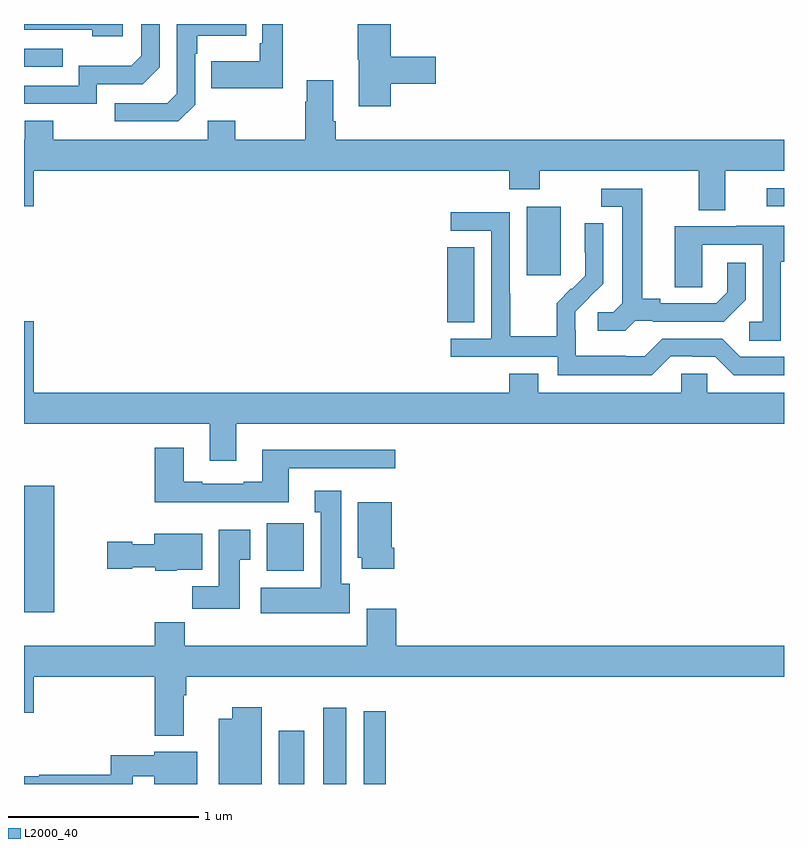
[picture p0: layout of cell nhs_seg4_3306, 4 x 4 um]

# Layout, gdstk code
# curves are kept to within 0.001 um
import gdstk
lib = gdstk.Library(unit=1e-6, precision=1e-09)
def R(c, l, rs):  # rectangles x0, y0, x1, y1
    for r in rs: c.add(gdstk.rectangle(r[:2], r[2:], *l))
def P(c, l, *ps):  # polygons
    for p in ps: c.add(gdstk.Polygon(p, *l))
L2000_40 = (2000, 40)

nhs_seg4_3306 = lib.new_cell('nhs_seg4_3306')
R(nhs_seg4_3306, L2000_40, [(286.34,818.9,286.474,819.181), (286.574,818.9,286.696,819.301), (286.788,818.9,286.904,819.283), (285,819.804,285.16,820.471), (286.277,820.022,286.473,820.273), (287.228,821.329,287.371,821.726), (287.645,821.577,287.824,821.938), (288.909,821.94,289,822.036), (285,822.675,285.203,822.771)])
P(nhs_seg4_3306, L2000_40, [(286.931,822.586),(287.167,822.586),(287.167,822.728),(286.931,822.728),(286.931,822.9),(286.756,822.9),(286.756,822.711),(286.763,822.711),(286.763,822.468),(286.931,822.468)],
  [(285.9,822.474),(285.9,822.743),(285.913,822.743),(285.913,822.839),(286.169,822.839),(286.169,822.9),(285.804,822.9),(285.804,822.534),(285.753,822.483),(285.477,822.483),(285.477,822.387),(285.813,822.387)],
  [(286.363,822.9),(286.254,822.9),(286.254,822.799),(286.242,822.799),(286.242,822.703),(285.985,822.703),(285.985,822.563),(286.363,822.563)],
  [(285.52,822.9),(285,822.9),(285,822.87),(285.359,822.87),(285.359,822.836),(285.52,822.836)],
  [(285.384,822.582),(285.624,822.582),(285.714,822.672),(285.714,822.9),(285.618,822.9),(285.618,822.732),(285.565,822.679),(285.288,822.679),(285.288,822.576),(285,822.576),(285,822.48),(285.384,822.48)],
  [(288.691,822.128),(289,822.128),(289,822.292),(286.64,822.292),(286.64,822.388),(286.627,822.388),(286.627,822.604),(286.487,822.604),(286.487,822.491),(286.48,822.491),(286.48,822.292),(286.113,822.292),(286.113,822.391),(285.966,822.391),(285.966,822.292),(285.153,822.292),(285.153,822.391),(285.005,822.391),(285.005,822.292),(285,822.292),(285,821.94),(285.052,821.94),(285.052,822.128),(287.555,822.128),(287.555,822.029),(287.715,822.029),(287.715,822.128),(288.551,822.128),(288.551,821.92),(288.691,821.92)],
  [(288.216,821.337),(288.31,821.337),(288.31,821.334),(288.682,821.334),(288.798,821.45),(288.798,821.644),(288.701,821.644),(288.701,821.487),(288.644,821.43),(288.349,821.43),(288.349,821.453),(288.253,821.453),(288.253,822.033),(288.039,822.033),(288.039,821.937),(288.149,821.937),(288.149,821.429),(288.102,821.382),(288.021,821.382),(288.021,821.285),(288.164,821.285)],
  [(288.405,821.151),(288.521,821.151),(288.521,821.148),(288.639,821.148),(288.735,821.052),(289,821.052),(289,821.148),(288.771,821.148),(288.675,821.244),(288.36,821.244),(288.267,821.151),(288.167,821.151),(288.167,821.155),(287.904,821.155),(287.904,821.289),(287.902,821.289),(287.902,821.386),(288.048,821.534),(288.048,821.852),(287.952,821.852),(287.952,821.698),(287.954,821.698),(287.954,821.576),(287.883,821.505),(287.88,821.508),(287.803,821.431),(287.803,821.257),(287.559,821.257),(287.559,821.48),(287.556,821.48),(287.556,821.91),(287.247,821.91),(287.247,821.811),(287.46,821.811),(287.46,821.244),(287.247,821.244),(287.247,821.148),(287.808,821.148),(287.808,821.051),(288.305,821.051)],
  [(288.984,821.649),(289,821.649),(289,821.839),(288.749,821.839),(288.749,821.835),(288.425,821.835),(288.425,821.515),(288.57,821.515),(288.57,821.739),(288.888,821.739),(288.888,821.334),(288.816,821.334),(288.816,821.233),(288.984,821.233)],
  [(286.117,820.796),(289,820.796),(289,820.96),(288.597,820.96),(288.597,821.058),(288.459,821.058),(288.459,820.96),(287.707,820.96),(287.707,821.059),(287.555,821.059),(287.555,820.96),(285.052,820.96),(285.052,821.335),(285,821.335),(285,820.796),(285.977,820.796),(285.977,820.602),(286.117,820.602)],
  [(286.393,820.563),(286.954,820.563),(286.954,820.66),(286.253,820.66),(286.253,820.492),(286.157,820.492),(286.157,820.479),(285.937,820.479),(285.937,820.492),(285.841,820.492),(285.841,820.669),(285.689,820.669),(285.689,820.382),(286.393,820.382)],
  [(286.714,819.954),(286.669,819.954),(286.669,820.444),(286.529,820.444),(286.529,820.331),(286.562,820.331),(286.562,819.934),(286.245,819.934),(286.245,819.8),(286.714,819.8)],
  [(286.949,820.144),(286.936,820.144),(286.936,820.384),(286.757,820.384),(286.757,820.092),(286.778,820.092),(286.778,820.032),(286.949,820.032)],
  [(286.135,820.081),(286.192,820.081),(286.192,820.237),(286.025,820.237),(286.025,819.94),(285.886,819.94),(285.886,819.822),(286.135,819.822)],
  [(285.804,820.028),(285.937,820.028),(285.937,820.216),(285.686,820.216),(285.686,820.162),(285.57,820.162),(285.57,820.175),(285.438,820.175),(285.438,820.033),(285.57,820.033),(285.57,820.04),(285.69,820.04),(285.69,820.022),(285.804,820.022)],
  [(285.841,819.368),(285.854,819.368),(285.854,819.464),(289,819.464),(289,819.628),(286.958,819.628),(286.958,819.823),(286.805,819.823),(286.805,819.628),(285.845,819.628),(285.845,819.752),(285.689,819.752),(285.689,819.628),(285,819.628),(285,819.276),(285.052,819.276),(285.052,819.464),(285.689,819.464),(285.689,819.155),(285.841,819.155)],
  [(286.252,819.304),(286.097,819.304),(286.097,819.244),(286.025,819.244),(286.025,818.9),(286.252,818.9)],
  [(285.573,818.941),(285.686,818.941),(285.686,818.9),(285.913,818.9),(285.913,819.07),(285.686,819.07),(285.686,819.052),(285.457,819.052),(285.457,818.948),(285.08,818.948),(285.08,818.941),(285,818.941),(285,818.9),(285.573,818.9)])

lib.write_gds('nhs_seg4_3306.gds')
